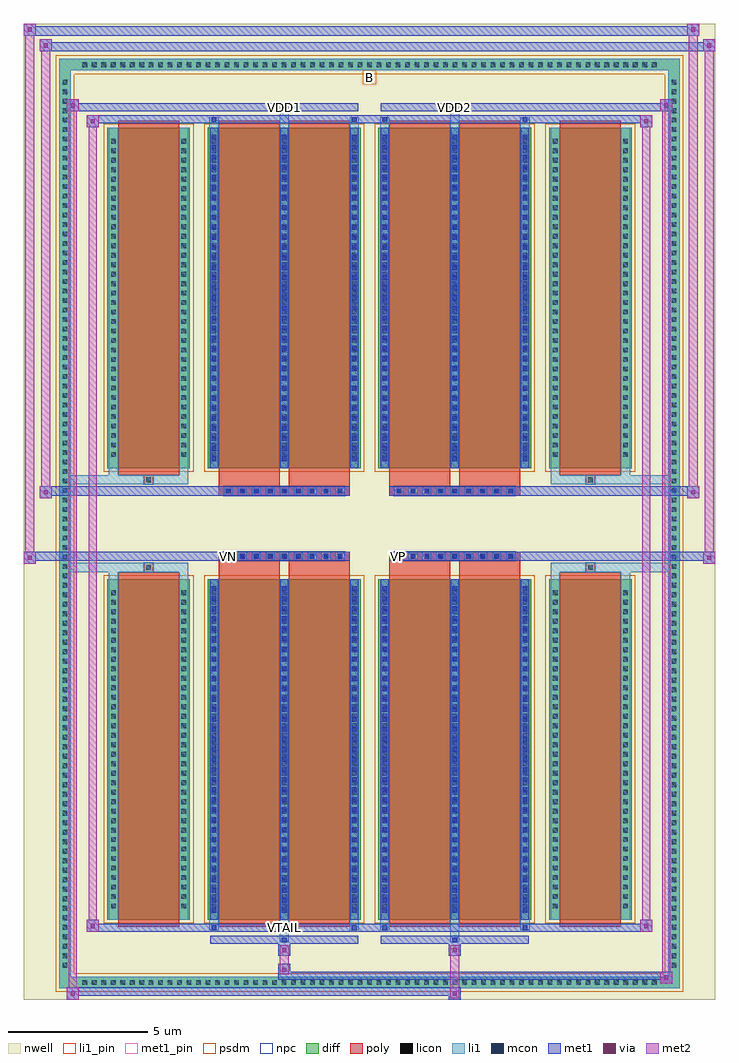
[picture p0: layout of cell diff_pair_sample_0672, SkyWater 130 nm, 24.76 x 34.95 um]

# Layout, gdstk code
import gdstk
lib = gdstk.Library(unit=1e-6, precision=5e-09)
def R(c, l, rs):  # rectangles x0, y0, x1, y1
    for r in rs: c.add(gdstk.rectangle(r[:2], r[2:], *l))
def A(c, l, x, y, w, h, nx, ny, dx, dy):  # array of equal rectangles
    R(c, l, [(x+i*dx, y+j*dy, x+i*dx+w, y+j*dy+h) for i in range(nx) for j in range(ny)])
def P(c, l, *ps):  # polygons
    for p in ps: c.add(gdstk.Polygon(p, *l))
nwell = (64, 20)
diff = (65, 20)
poly = (66, 20)
licon = (66, 44)
li1_pin = (67, 16)
li1 = (67, 20)
mcon = (67, 44)
met1_pin = (68, 16)
met1 = (68, 20)
via = (68, 44)
met2 = (69, 20)
psdm = (94, 20)
npc = (95, 20)

diff_pair_sample_0672 = lib.new_cell('diff_pair_sample_0672')
R(diff_pair_sample_0672, nwell, [(-12.38,-17.04,12.38,17.91), (-9.7,-15.23,-0.01,-0.805), (0.01,-15.23,9.7,-0.805), (-9.7,0.805,-0.01,15.23), (0.01,0.805,9.7,15.23)])
A(diff_pair_sample_0672, diff, -10.405, -16.64, 0.41, 0.41, 61, 2, 0.34, 32.87)
A(diff_pair_sample_0672, diff, -11.11, -16.015, 0.41, 0.41, 1, 94, 0, 0.34)
A(diff_pair_sample_0672, diff, 10.7, -16.015, 0.41, 0.41, 1, 94, 0, 0.34)
R(diff_pair_sample_0672, diff, [(-10.405,-16.64,10.405,-16.23), (-11.11,-16.015,-10.7,16.015), (10.7,-16.015,11.11,16.015), (-9.39,-14.185,-6.43,-1.985), (-5.79,-14.185,-0.32,-1.985), (0.32,-14.185,5.79,-1.985), (6.43,-14.185,9.39,-1.985), (-9.39,1.985,-6.43,14.185), (-5.79,1.985,-0.32,14.185), (0.32,1.985,5.79,14.185), (6.43,1.985,9.39,14.185), (-10.405,16.23,10.405,16.64)])
P(diff_pair_sample_0672, diff, [(11.11,16.64),(-11.11,16.64),(-11.11,-16.23),(-10.7,-16.23),(-10.7,16.23),(10.7,16.23),(10.7,-16.23),(-10.7,-16.23),(-11.11,-16.23),(-11.11,-16.64),(11.11,-16.64)])
A(diff_pair_sample_0672, poly, -5.22, -1.335, 0.33, 0.33, 9, 2, 0.5, 2.34)
A(diff_pair_sample_0672, poly, 0.89, -1.335, 0.33, 0.33, 9, 2, 0.5, 2.34)
R(diff_pair_sample_0672, poly, [(-9,-14.435,-6.82,-1.735), (-5.4,-14.435,-3.22,-1.735), (-2.89,-14.435,-0.71,-1.735), (0.71,-14.435,2.89,-1.735), (3.22,-14.435,5.4,-1.735), (6.82,-14.435,9,-1.735), (-8.075,-1.735,-7.745,-1.405), (-8.075,-1.735,-7.745,-1.405), (-5.4,-1.735,-3.22,-1.335), (-2.89,-1.735,-0.71,-1.335), (0.71,-1.735,2.89,-1.335), (3.22,-1.735,5.4,-1.335), (7.745,-1.735,8.075,-1.405), (7.745,-1.735,8.075,-1.405), (-5.4,-1.335,-0.71,-1.005), (0.71,-1.335,5.4,-1.005), (-5.4,1.005,-0.71,1.335), (0.71,1.005,5.4,1.335), (-5.4,1.335,-3.22,1.735), (-2.89,1.335,-0.71,1.735), (0.71,1.335,2.89,1.735), (3.22,1.335,5.4,1.735), (-8.075,1.405,-7.745,1.735), (-8.075,1.405,-7.745,1.735), (7.745,1.405,8.075,1.735), (7.745,1.405,8.075,1.735), (-9,1.735,-6.82,14.435), (-5.4,1.735,-3.22,14.435), (-2.89,1.735,-0.71,14.435), (0.71,1.735,2.89,14.435), (3.22,1.735,5.4,14.435), (6.82,1.735,9,14.435)])
A(diff_pair_sample_0672, licon, -10.285, -16.52, 0.17, 0.17, 61, 2, 0.34, 32.87)
A(diff_pair_sample_0672, licon, -10.99, -15.895, 0.17, 0.17, 1, 94, 0, 0.34)
A(diff_pair_sample_0672, licon, 10.82, -15.895, 0.17, 0.17, 1, 94, 0, 0.34)
A(diff_pair_sample_0672, licon, -9.25, -13.78, 0.17, 0.17, 1, 34, 0, 0.34)
A(diff_pair_sample_0672, licon, -6.74, -13.78, 0.17, 0.17, 1, 34, 0, 0.34)
A(diff_pair_sample_0672, licon, -5.65, -13.78, 0.17, 0.17, 3, 34, 2.51, 0.34)
A(diff_pair_sample_0672, licon, 0.46, -13.78, 0.17, 0.17, 3, 34, 2.51, 0.34)
A(diff_pair_sample_0672, licon, 6.57, -13.78, 0.17, 0.17, 1, 34, 0, 0.34)
A(diff_pair_sample_0672, licon, 9.08, -13.78, 0.17, 0.17, 1, 34, 0, 0.34)
A(diff_pair_sample_0672, licon, -5.14, -1.255, 0.17, 0.17, 9, 2, 0.5, 2.34)
A(diff_pair_sample_0672, licon, 0.97, -1.255, 0.17, 0.17, 9, 2, 0.5, 2.34)
A(diff_pair_sample_0672, licon, -9.25, 2.39, 0.17, 0.17, 1, 34, 0, 0.34)
A(diff_pair_sample_0672, licon, -6.74, 2.39, 0.17, 0.17, 1, 34, 0, 0.34)
A(diff_pair_sample_0672, licon, -5.65, 2.39, 0.17, 0.17, 3, 34, 2.51, 0.34)
A(diff_pair_sample_0672, licon, 0.46, 2.39, 0.17, 0.17, 3, 34, 2.51, 0.34)
A(diff_pair_sample_0672, licon, 6.57, 2.39, 0.17, 0.17, 1, 34, 0, 0.34)
A(diff_pair_sample_0672, licon, 9.08, 2.39, 0.17, 0.17, 1, 34, 0, 0.34)
R(diff_pair_sample_0672, licon, [(-7.995,-1.655,-7.825,-1.485), (7.825,-1.655,7.995,-1.485), (-7.995,1.485,-7.825,1.655), (7.825,1.485,7.995,1.655)])
R(diff_pair_sample_0672, li1_pin, [(-0.25,15.73,0.25,16.23)])
A(diff_pair_sample_0672, li1, -10.365, -16.6, 0.33, 0.33, 61, 2, 0.34, 32.87)
A(diff_pair_sample_0672, li1, -11.07, -15.975, 0.33, 0.33, 1, 94, 0, 0.34)
A(diff_pair_sample_0672, li1, 10.74, -15.975, 0.33, 0.33, 1, 94, 0, 0.34)
A(diff_pair_sample_0672, li1, -5.73, -14.185, 0.33, 12.2, 3, 2, 2.51, 16.17)
A(diff_pair_sample_0672, li1, 0.38, -14.185, 0.33, 12.2, 3, 2, 2.51, 16.17)
A(diff_pair_sample_0672, li1, -5.65, -13.93, 0.17, 0.17, 3, 33, 2.51, 0.36)
A(diff_pair_sample_0672, li1, -5.65, -13.93, 0.17, 11.69, 3, 2, 2.51, 16.17)
A(diff_pair_sample_0672, li1, 0.46, -13.93, 0.17, 0.17, 3, 33, 2.51, 0.36)
A(diff_pair_sample_0672, li1, 0.46, -13.93, 0.17, 11.69, 3, 2, 2.51, 16.17)
A(diff_pair_sample_0672, li1, -9.33, -13.86, 0.33, 0.33, 1, 34, 0, 0.34)
A(diff_pair_sample_0672, li1, -6.82, -13.86, 0.33, 0.33, 1, 34, 0, 0.34)
A(diff_pair_sample_0672, li1, -5.73, -13.86, 0.33, 0.33, 3, 34, 2.51, 0.34)
A(diff_pair_sample_0672, li1, 0.38, -13.86, 0.33, 0.33, 3, 34, 2.51, 0.34)
A(diff_pair_sample_0672, li1, 6.49, -13.86, 0.33, 0.33, 1, 34, 0, 0.34)
A(diff_pair_sample_0672, li1, 9, -13.86, 0.33, 0.33, 1, 34, 0, 0.34)
A(diff_pair_sample_0672, li1, -5.22, -1.335, 0.33, 0.33, 9, 2, 0.5, 2.34)
A(diff_pair_sample_0672, li1, 0.89, -1.335, 0.33, 0.33, 9, 2, 0.5, 2.34)
A(diff_pair_sample_0672, li1, -5.65, 2.24, 0.17, 0.17, 3, 33, 2.51, 0.36)
A(diff_pair_sample_0672, li1, 0.46, 2.24, 0.17, 0.17, 3, 33, 2.51, 0.36)
A(diff_pair_sample_0672, li1, -9.33, 2.31, 0.33, 0.33, 1, 34, 0, 0.34)
A(diff_pair_sample_0672, li1, -6.82, 2.31, 0.33, 0.33, 1, 34, 0, 0.34)
A(diff_pair_sample_0672, li1, -5.73, 2.31, 0.33, 0.33, 3, 34, 2.51, 0.34)
A(diff_pair_sample_0672, li1, 0.38, 2.31, 0.33, 0.33, 3, 34, 2.51, 0.34)
A(diff_pair_sample_0672, li1, 6.49, 2.31, 0.33, 0.33, 1, 34, 0, 0.34)
A(diff_pair_sample_0672, li1, 9, 2.31, 0.33, 0.33, 1, 34, 0, 0.34)
R(diff_pair_sample_0672, li1, [(-11.11,-16.64,-10.7,-16.23), (-11.11,-16.64,-10.7,-16.23), (-10.7,-16.64,10.7,-16.23), (10.7,-16.64,11.11,-16.23), (10.7,-16.64,11.11,-16.23), (-11.11,-16.23,-10.7,16.23), (10.7,-16.23,11.11,16.23), (-3.22,-14.99,-2.89,-14.185), (-3.14,-14.99,-2.97,-14.82), (2.89,-14.99,3.22,-14.185), (2.97,-14.99,3.14,-14.82), (-5.73,-14.56,-5.4,-14.185), (-5.65,-14.56,-5.48,-14.39), (-0.71,-14.56,-0.38,-14.185), (-0.63,-14.56,-0.46,-14.39), (0.38,-14.56,0.71,-14.185), (0.46,-14.56,0.63,-14.39), (5.4,-14.56,5.73,-14.185), (5.48,-14.56,5.65,-14.39), (-9.33,-14.185,-9,-1.985), (-6.82,-14.185,-6.49,-1.985), (6.49,-14.185,6.82,-1.985), (9,-14.185,9.33,-1.985), (-9.33,-1.985,-9,-1.405), (-6.82,-1.985,-6.49,-1.405), (6.49,-1.985,6.82,-1.405), (9,-1.985,9.33,-1.405), (-11.11,-1.735,-8.075,-1.405), (-9.33,-1.735,-8.075,-1.405), (-8.075,-1.735,-7.745,-1.405), (-7.745,-1.735,-6.49,-1.405), (6.49,-1.735,7.745,-1.405), (7.745,-1.735,8.075,-1.405), (7.745,-1.735,11.11,-1.405), (8.075,-1.735,9.33,-1.405), (-11.11,1.405,-8.075,1.735), (-9.33,1.405,-8.075,1.735), (-9.33,1.405,-9,1.985), (-8.075,1.405,-7.745,1.735), (-7.745,1.405,-6.49,1.735), (-6.82,1.405,-6.49,1.985), (6.49,1.405,7.745,1.735), (6.49,1.405,6.82,1.985), (7.745,1.405,8.075,1.735), (7.745,1.405,11.11,1.735), (8.075,1.405,9.33,1.735), (9,1.405,9.33,1.985), (-9.33,1.985,-9,14.185), (-6.82,1.985,-6.49,14.185), (6.49,1.985,6.82,14.185), (9,1.985,9.33,14.185), (-5.73,14.185,-5.4,14.56), (-3.22,14.185,-2.89,14.99), (-0.71,14.185,-0.38,14.56), (0.38,14.185,0.71,14.56), (2.89,14.185,3.22,14.99), (5.4,14.185,5.73,14.56), (-5.65,14.39,-5.48,14.56), (-0.63,14.39,-0.46,14.56), (0.46,14.39,0.63,14.56), (5.48,14.39,5.65,14.56), (-3.14,14.82,-2.97,14.99), (2.97,14.82,3.14,14.99), (-11.11,16.23,-10.7,16.64), (-11.11,16.23,-10.7,16.64), (-10.7,16.23,10.7,16.64), (10.7,16.23,11.11,16.64), (10.7,16.23,11.11,16.64)])
A(diff_pair_sample_0672, mcon, -5.65, -13.93, 0.17, 0.17, 3, 33, 2.51, 0.36)
A(diff_pair_sample_0672, mcon, 0.46, -13.93, 0.17, 0.17, 3, 33, 2.51, 0.36)
A(diff_pair_sample_0672, mcon, -5.14, -1.255, 0.17, 0.17, 9, 2, 0.5, 2.34)
A(diff_pair_sample_0672, mcon, 0.97, -1.255, 0.17, 0.17, 9, 2, 0.5, 2.34)
A(diff_pair_sample_0672, mcon, -5.65, 2.24, 0.17, 0.17, 3, 33, 2.51, 0.36)
A(diff_pair_sample_0672, mcon, 0.46, 2.24, 0.17, 0.17, 3, 33, 2.51, 0.36)
R(diff_pair_sample_0672, mcon, [(-3.14,-14.99,-2.97,-14.82), (2.97,-14.99,3.14,-14.82), (-5.65,-14.56,-5.48,-14.39), (-0.63,-14.56,-0.46,-14.39), (0.46,-14.56,0.63,-14.39), (5.48,-14.56,5.65,-14.39), (-5.65,14.39,-5.48,14.56), (-0.63,14.39,-0.46,14.56), (0.46,14.39,0.63,14.56), (5.48,14.39,5.65,14.56), (-3.14,14.82,-2.97,14.99), (2.97,14.82,3.14,14.99)])
R(diff_pair_sample_0672, met1_pin, [(-3.19,-14.6,-2.92,-14.33), (-5.19,-1.295,-4.92,-1.025), (0.92,-1.295,1.19,-1.025), (-3.19,14.78,-2.92,15.05), (2.92,14.78,3.19,15.05)])
A(diff_pair_sample_0672, met1, -5.71, -14.185, 0.29, 12.2, 3, 2, 2.51, 16.17)
A(diff_pair_sample_0672, met1, 0.4, -14.185, 0.29, 12.2, 3, 2, 2.51, 16.17)
A(diff_pair_sample_0672, met1, -5.71, -13.99, 0.29, 0.29, 3, 33, 2.51, 0.36)
A(diff_pair_sample_0672, met1, 0.4, -13.99, 0.29, 0.29, 3, 33, 2.51, 0.36)
A(diff_pair_sample_0672, met1, -5.2, -1.315, 0.29, 0.29, 9, 2, 0.5, 2.34)
A(diff_pair_sample_0672, met1, 0.91, -1.315, 0.29, 0.29, 9, 2, 0.5, 2.34)
A(diff_pair_sample_0672, met1, -5.71, 2.18, 0.29, 0.29, 3, 33, 2.51, 0.36)
A(diff_pair_sample_0672, met1, 0.4, 2.18, 0.29, 0.29, 3, 33, 2.51, 0.36)
R(diff_pair_sample_0672, met1, [(-10.84,-17.04,-10.41,-16.61), (2.84,-17.04,3.27,-16.61), (-10.84,-16.9,3.27,-16.61), (10.41,-16.47,10.84,-16.04), (-3.27,-16.33,10.84,-16.04), (-3.27,-16.19,-2.84,-15.76), (-3.27,-15.48,-2.84,-15.05), (2.84,-15.48,3.27,-15.05), (-5.71,-15.05,-0.4,-14.76), (-3.2,-15.05,-2.91,-14.76), (0.4,-15.05,5.71,-14.76), (2.91,-15.05,3.2,-14.76), (-10.13,-14.62,-9.7,-14.19), (-10.13,-14.62,-5.71,-14.33), (-5.71,-14.62,-5.42,-14.33), (-5.71,-14.62,-0.4,-14.33), (-0.69,-14.62,-0.4,-14.33), (-0.4,-14.62,0.4,-14.33), (0.4,-14.62,0.69,-14.33), (0.4,-14.62,5.71,-14.33), (5.42,-14.62,5.71,-14.33), (5.71,-14.62,10.13,-14.33), (9.7,-14.62,10.13,-14.19), (-12.38,-1.435,-11.95,-1.005), (11.95,-1.435,12.38,-1.005), (-12.38,-1.335,-0.71,-1.005), (-5.4,-1.335,-0.71,-1.005), (0.71,-1.335,5.4,-1.005), (0.71,-1.335,12.38,-1.005), (-11.81,0.905,-11.38,1.335), (11.38,0.905,11.81,1.335), (-11.81,1.005,-5.4,1.335), (-5.4,1.005,-0.71,1.335), (0.71,1.005,5.4,1.335), (5.4,1.005,11.81,1.335), (-10.13,14.19,-9.7,14.62), (9.7,14.19,10.13,14.62), (-10.13,14.33,-5.71,14.62), (-5.71,14.33,-5.42,14.62), (-5.71,14.33,-0.4,14.62), (-0.69,14.33,-0.4,14.62), (-0.4,14.33,0.4,14.62), (0.4,14.33,0.69,14.62), (0.4,14.33,5.71,14.62), (5.42,14.33,5.71,14.62), (5.71,14.33,10.13,14.62), (-10.84,14.76,-10.41,15.19), (-10.84,14.76,-5.71,15.05), (-5.71,14.76,-0.4,15.05), (-3.2,14.76,-2.91,15.05), (0.4,14.76,5.71,15.05), (2.91,14.76,3.2,15.05), (5.71,14.76,10.84,15.05), (10.41,14.76,10.84,15.19), (-11.81,16.91,-11.38,17.34), (-11.81,16.91,-9.7,17.24), (-9.7,16.91,9.7,17.24), (9.7,16.91,12.38,17.24), (11.95,16.91,12.38,17.34), (-12.38,17.48,-11.95,17.91), (-12.38,17.48,-9.7,17.81), (-9.7,17.48,9.7,17.81), (9.7,17.48,11.81,17.81), (11.38,17.48,11.81,17.91)])
R(diff_pair_sample_0672, via, [(-10.7,-16.9,-10.55,-16.75), (2.98,-16.9,3.13,-16.75), (10.55,-16.33,10.7,-16.18), (-3.13,-16.05,-2.98,-15.9), (-3.13,-15.34,-2.98,-15.19), (2.98,-15.34,3.13,-15.19), (-9.99,-14.48,-9.84,-14.33), (9.84,-14.48,9.99,-14.33), (-12.24,-1.295,-12.09,-1.145), (12.09,-1.295,12.24,-1.145), (-11.67,1.045,-11.52,1.195), (11.52,1.045,11.67,1.195), (-9.99,14.33,-9.84,14.48), (9.84,14.33,9.99,14.48), (-10.7,14.9,-10.55,15.05), (10.55,14.9,10.7,15.05), (-11.67,17.05,-11.52,17.2), (12.09,17.05,12.24,17.2), (-12.24,17.62,-12.09,17.77), (11.52,17.62,11.67,17.77)])
R(diff_pair_sample_0672, met2, [(-10.84,-17.04,-10.41,-16.61), (-10.77,-17.04,-10.48,15.19), (-10.48,-17.04,-10.41,-16.61), (-10.79,-16.99,-10.46,-16.66), (2.89,-16.99,3.22,-16.66), (2.89,-16.66,3.22,-15.43), (10.41,-16.47,10.84,-16.04), (10.48,-16.47,10.77,15.19), (10.77,-16.47,10.84,-16.04), (10.46,-16.42,10.79,-16.09), (-3.22,-16.14,-2.89,-15.81), (-3.22,-15.81,-2.89,-15.43), (-3.22,-15.43,-2.89,-15.1), (2.89,-15.43,3.22,-15.1), (-10.13,-14.62,-9.7,-14.19), (-10.06,-14.62,-9.77,14.62), (-9.77,-14.62,-9.7,-14.19), (9.7,-14.62,10.13,-14.19), (9.77,-14.62,10.06,14.62), (10.06,-14.62,10.13,-14.19), (-10.08,-14.57,-9.75,-14.24), (9.75,-14.57,10.08,-14.24), (-12.38,-1.435,-11.95,-1.005), (-12.33,-1.435,-12,17.91), (-12,-1.435,-11.95,-1.005), (11.95,-1.435,12.38,-1.005), (12,-1.435,12.33,17.34), (12.33,-1.435,12.38,-1.005), (-12.33,-1.385,-12,-1.055), (12,-1.385,12.33,-1.055), (-11.81,0.905,-11.38,1.335), (-11.76,0.905,-11.43,17.34), (-11.43,0.905,-11.38,1.335), (11.38,0.905,11.81,1.335), (11.43,0.905,11.76,17.91), (11.76,0.905,11.81,1.335), (-11.76,0.955,-11.43,1.285), (11.43,0.955,11.76,1.285), (-10.13,14.19,-9.7,14.62), (-9.77,14.19,-9.7,14.62), (9.7,14.19,10.13,14.62), (10.06,14.19,10.13,14.62), (-10.08,14.24,-9.75,14.57), (9.75,14.24,10.08,14.57), (-10.84,14.76,-10.41,15.19), (-10.48,14.76,-10.41,15.19), (10.41,14.76,10.84,15.19), (10.77,14.76,10.84,15.19), (-10.79,14.81,-10.46,15.14), (10.46,14.81,10.79,15.14), (-11.81,16.91,-11.38,17.34), (-11.43,16.91,-11.38,17.34), (11.95,16.91,12.38,17.34), (12.33,16.91,12.38,17.34), (-11.76,16.96,-11.43,17.29), (12,16.96,12.33,17.29), (-12.38,17.48,-11.95,17.91), (-12,17.48,-11.95,17.91), (11.38,17.48,11.81,17.91), (11.76,17.48,11.81,17.91), (-12.33,17.53,-12,17.86), (11.43,17.53,11.76,17.86)])
R(diff_pair_sample_0672, psdm, [(-9.52,-14.315,-6.3,-1.855), (-5.92,-14.315,-0.19,-1.855), (0.19,-14.315,5.92,-1.855), (6.3,-14.315,9.52,-1.855), (-9.52,1.855,-6.3,14.315), (-5.92,1.855,-0.19,14.315), (0.19,1.855,5.92,14.315), (6.3,1.855,9.52,14.315)])
P(diff_pair_sample_0672, psdm, [(11.24,16.77),(-11.24,16.77),(-11.24,-16.1),(-10.57,-16.1),(-10.57,16.1),(10.57,16.1),(10.57,-16.1),(-10.57,-16.1),(-11.24,-16.1),(-11.24,-16.77),(11.24,-16.77)])
A(diff_pair_sample_0672, npc, -5.24, -1.355, 0.37, 0.37, 9, 2, 0.5, 2.34)
A(diff_pair_sample_0672, npc, 0.87, -1.355, 0.37, 0.37, 9, 2, 0.5, 2.34)
R(diff_pair_sample_0672, npc, [(-8.095,-1.755,-7.725,-1.385), (7.725,-1.755,8.095,-1.385), (-5.24,-1.355,-4.37,-0.985), (-5.24,-1.355,-4.37,-0.985), (-4.74,-1.355,-3.87,-0.985), (-4.74,-1.355,-3.87,-0.985), (-4.24,-1.355,-3.37,-0.985), (-4.24,-1.355,-3.37,-0.985), (-3.74,-1.355,-2.87,-0.985), (-3.74,-1.355,-2.87,-0.985), (-3.24,-1.355,-2.37,-0.985), (-3.24,-1.355,-2.37,-0.985), (-2.74,-1.355,-1.87,-0.985), (-2.74,-1.355,-1.87,-0.985), (-2.24,-1.355,-1.37,-0.985), (-2.24,-1.355,-1.37,-0.985), (-1.74,-1.355,-0.87,-0.985), (-1.74,-1.355,-0.87,-0.985), (0.87,-1.355,1.74,-0.985), (0.87,-1.355,1.74,-0.985), (1.37,-1.355,2.24,-0.985), (1.37,-1.355,2.24,-0.985), (1.87,-1.355,2.74,-0.985), (1.87,-1.355,2.74,-0.985), (2.37,-1.355,3.24,-0.985), (2.37,-1.355,3.24,-0.985), (2.87,-1.355,3.74,-0.985), (2.87,-1.355,3.74,-0.985), (3.37,-1.355,4.24,-0.985), (3.37,-1.355,4.24,-0.985), (3.87,-1.355,4.74,-0.985), (3.87,-1.355,4.74,-0.985), (4.37,-1.355,5.24,-0.985), (4.37,-1.355,5.24,-0.985), (-5.24,0.985,-4.37,1.355), (-5.24,0.985,-4.37,1.355), (-4.74,0.985,-3.87,1.355), (-4.74,0.985,-3.87,1.355), (-4.24,0.985,-3.37,1.355), (-4.24,0.985,-3.37,1.355), (-3.74,0.985,-2.87,1.355), (-3.74,0.985,-2.87,1.355), (-3.24,0.985,-2.37,1.355), (-3.24,0.985,-2.37,1.355), (-2.74,0.985,-1.87,1.355), (-2.74,0.985,-1.87,1.355), (-2.24,0.985,-1.37,1.355), (-2.24,0.985,-1.37,1.355), (-1.74,0.985,-0.87,1.355), (-1.74,0.985,-0.87,1.355), (0.87,0.985,1.74,1.355), (0.87,0.985,1.74,1.355), (1.37,0.985,2.24,1.355), (1.37,0.985,2.24,1.355), (1.87,0.985,2.74,1.355), (1.87,0.985,2.74,1.355), (2.37,0.985,3.24,1.355), (2.37,0.985,3.24,1.355), (2.87,0.985,3.74,1.355), (2.87,0.985,3.74,1.355), (3.37,0.985,4.24,1.355), (3.37,0.985,4.24,1.355), (3.87,0.985,4.74,1.355), (3.87,0.985,4.74,1.355), (4.37,0.985,5.24,1.355), (4.37,0.985,5.24,1.355), (-8.095,1.385,-7.725,1.755), (7.725,1.385,8.095,1.755)])
diff_pair_sample_0672.add(gdstk.Label('VTAIL', (-3.055,-14.465), layer=68, texttype=5))
diff_pair_sample_0672.add(gdstk.Label('VN', (-5.055,-1.16), layer=68, texttype=5))
diff_pair_sample_0672.add(gdstk.Label('VP', (1.055,-1.16), layer=68, texttype=5))
diff_pair_sample_0672.add(gdstk.Label('B', (0,15.98), layer=67, texttype=5))
diff_pair_sample_0672.add(gdstk.Label('VDD2', (3.055,14.915), layer=68, texttype=5))
diff_pair_sample_0672.add(gdstk.Label('VDD1', (-3.055,14.915), layer=68, texttype=5))

lib.write_gds('diff_pair_sample_0672.gds')
